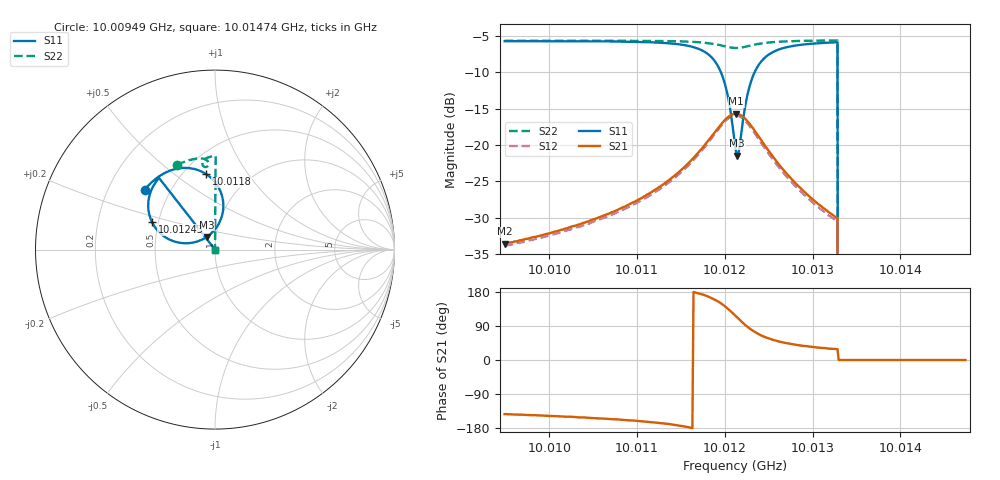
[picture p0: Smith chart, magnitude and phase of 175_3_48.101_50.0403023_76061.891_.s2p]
#  HZ  S  RI  R  50.00
! Rohde & Schwarz Vector Network Analyzer
! Rohde-Schwarz,ZNB20-2Port,1311601062101988,3.16
! Created: UTC 12/23/2023, 3:52:12 AM
! freq[Hz]  re:S11  im:S11  re:S21  im:S21  re:S12  im:S12  re:S22  im:S22
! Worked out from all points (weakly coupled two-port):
!   401 points, 10.00949 GHz to 10.01474 GHz, reference 50 ohm
!   highest |S21| = -15.72 dB at 10.01213 GHz (marker M1); lowest = -33.6 dB at 10.00949 GHz (marker M2)
!   lowest |S11| = -21.5 dB at 10.01214 GHz (marker M3), VSWR 1.18, Z = 45.2 + j6.47 ohm
!   |S11| at or under -10 dB: 10.01195 GHz to 10.01234 GHz (386.2 kHz wide, 0.00386 % of centre); 10.01329 GHz to end of sweep
!   |S22| runs from - to -5.7 dB; largest |S21 - S12| = 0.0083
!   S11 on the Smith chart (normalised r, x): 10.00949 GHz: 0.36, +0.33; 10.0118 GHz: 0.64, +0.66; 10.01243 GHz: 0.46, +0.17; 10.01474 GHz: 1.00, +0.00
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1.0009488e10  -0.3918 0.3339  -0.0167 -0.0127  -0.0154 -0.0131  -0.2123 0.4724
1.0010368e10  -0.3369 0.389  -0.0255 -0.0138  -0.0238 -0.0143  -0.1576 0.4942
1.0011249e10  -0.2358 0.4449  -0.0498 -0.0123  -0.0471 -0.0144  -0.0958 0.5079
1.0011551e10  -0.1605 0.4552  -0.0715 -0.00527  -0.0686 -0.00855  -0.0701 0.5074
1.0011801e10  -0.0491 0.4206  -0.1029 0.0214  -0.1008 0.0152  -0.046 0.498
1.0011906e10  0.0114 0.3605  -0.1165 0.0502  -0.1157 0.0427  -0.0375 0.4876
1.0011985e10  0.0435 0.2792  -0.1183 0.0836  -0.1189 0.0762  -0.0355 0.4762
1.001205e10  0.0388 0.1885  -0.1056 0.1169  -0.1084 0.109  -0.0393 0.4666
1.0012116e10  -0.0123 0.099  -0.077 0.1443  -0.0801 0.1379  -0.0485 0.4604
1.0012129e10  -0.0282 0.0842  -0.0697 0.148  -0.0727 0.1419  -0.0507 0.46
1.0012142e10  -0.0457 0.071  -0.0618 0.1513  -0.0653 0.145  -0.0531 0.4599
1.0012169e10  -0.0838 0.0507  -0.0452 0.1551  -0.0494 0.149  -0.0576 0.4606
1.0012234e10  -0.1837 0.0364  -0.00565 0.1509  -0.0102 0.1456  -0.0665 0.4672
1.0012287e10  -0.2522 0.0555  0.0182 0.1375  0.0128 0.1329  -0.07 0.4749
1.0012352e10  -0.3121 0.0981  0.0365 0.1168  0.0314 0.113  -0.0699 0.4846
1.0012431e10  -0.3512 0.154  0.0473 0.093  0.0417 0.0907  -0.0658 0.4942
1.0012668e10  -0.37 0.2771  0.0468 0.0486  0.0424 0.0483  -0.0458 0.5106
1.0012996e10  -0.3403 0.3598  0.035 0.0243  0.0324 0.0245  -0.0186 0.5187
1.0013259e10  -0.3142 0.3961  0.0282 0.0155  0.026 0.0161  0.00156 0.521
1.0013325e10  0 0  0 0  0 0  0 0
1.0013877e10  0 0  0 0  0 0  0 0
1.0014744e10  0 0  0 0  0 0  0 0
